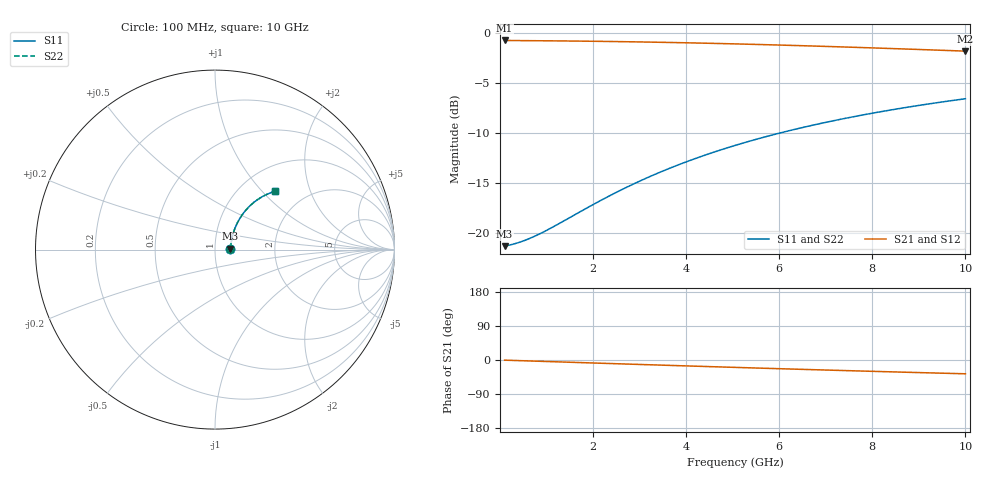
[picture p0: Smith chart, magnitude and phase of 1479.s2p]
# Hz S RI R 50.00
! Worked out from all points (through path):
!   100 points, 100 MHz to 10 GHz, reference 50 ohm
!   highest |S21| = -0.78 dB at 100 MHz (marker M1); lowest = -1.8 dB at 10 GHz (marker M2)
!   group delay of S21, straight-line fit = 10.1 ps
!   lowest |S11| = -21.3 dB at 100 MHz (marker M3), VSWR 1.19, Z = 59.4 + j0.574 ohm
!   |S11| at or under -10 dB: start of sweep to 6.025 GHz
!   |S22| runs from -21.3 to -6.6 dB; largest |S21 - S12| = 0
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1e8  0.086 0.0048  0.914 -0.00632  0.914 -0.00632  0.086 0.0048
3e8  0.0872 0.0144  0.9128 -0.0189  0.9128 -0.0189  0.0872 0.0144
4e8  0.0877 0.0191  0.9123 -0.0252  0.9123 -0.0252  0.0877 0.0191
6e8  0.0888 0.0286  0.9111 -0.0378  0.9111 -0.0378  0.0888 0.0286
8e8  0.0901 0.0381  0.9098 -0.0503  0.9098 -0.0503  0.0901 0.0381
1.2e9  0.0934 0.0568  0.9064 -0.0751  0.9064 -0.0751  0.0934 0.0568
1.8e9  0.0999 0.0845  0.8997 -0.112  0.8997 -0.112  0.0999 0.0845
2.2e9  0.1054 0.1025  0.894 -0.1361  0.894 -0.1361  0.1054 0.1025
2.6e9  0.1118 0.1201  0.8874 -0.1598  0.8874 -0.1598  0.1118 0.1201
3e9  0.1191 0.1372  0.8798 -0.183  0.8798 -0.183  0.1191 0.1372
3.4e9  0.1272 0.1538  0.8714 -0.2057  0.8714 -0.2057  0.1272 0.1538
3.8e9  0.1361 0.1698  0.8621 -0.2279  0.8621 -0.2279  0.1361 0.1698
4.2e9  0.1457 0.1852  0.8521 -0.2494  0.8521 -0.2494  0.1457 0.1852
4.6e9  0.1561 0.2  0.8413 -0.2703  0.8413 -0.2703  0.1561 0.2
5.1e9  0.1699 0.2174  0.8268 -0.2955  0.8268 -0.2955  0.1699 0.2174
5.5e9  0.1817 0.2306  0.8146 -0.3148  0.8146 -0.3148  0.1817 0.2306
5.9e9  0.1939 0.243  0.8018 -0.3334  0.8018 -0.3334  0.1939 0.243
6.7e9  0.2197 0.2655  0.7747 -0.3682  0.7747 -0.3682  0.2197 0.2655
7.5e9  0.247 0.2848  0.746 -0.4  0.746 -0.4  0.247 0.2848
8.4e9  0.2787 0.3028  0.7125 -0.432  0.7125 -0.432  0.2787 0.3028
9.2e9  0.3075 0.3155  0.6819 -0.4573  0.6819 -0.4573  0.3075 0.3155
1e10  0.3365 0.3252  0.6509 -0.4796  0.6509 -0.4796  0.3365 0.3252
